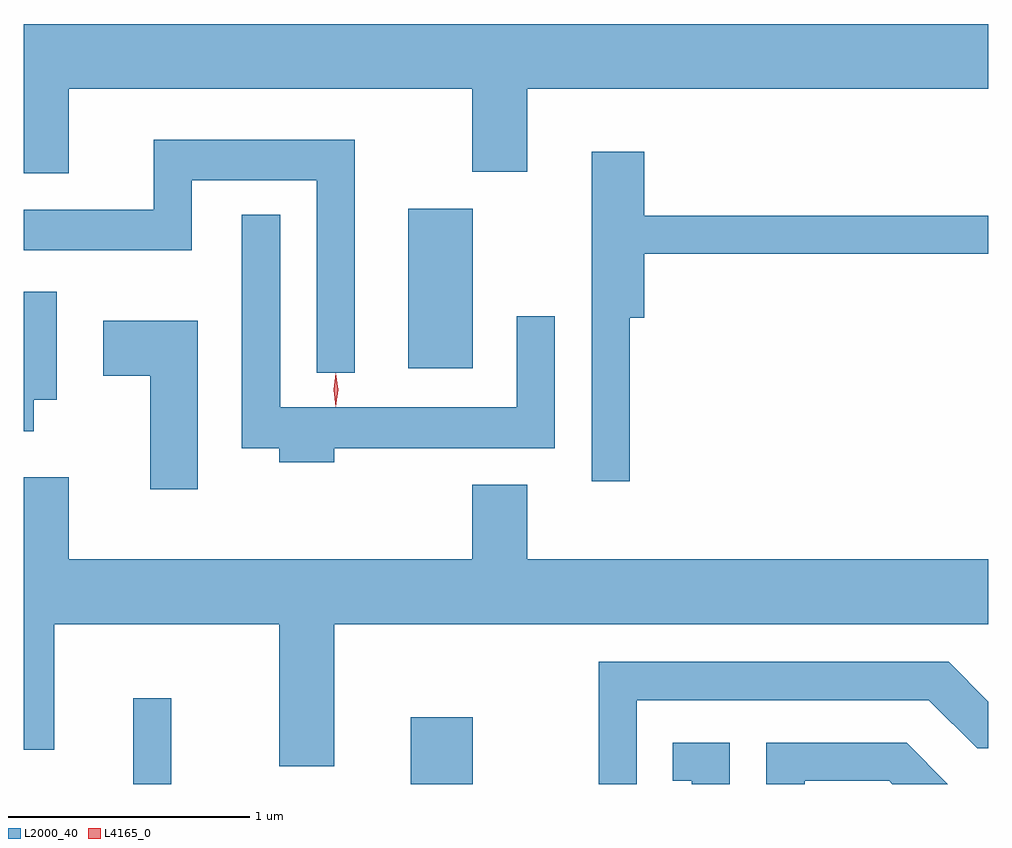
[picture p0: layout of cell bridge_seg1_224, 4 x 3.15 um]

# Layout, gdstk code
import gdstk
lib = gdstk.Library(unit=1e-6, precision=1e-09)
def R(c, l, rs):  # rectangles x0, y0, x1, y1
    for r in rs: c.add(gdstk.rectangle(r[:2], r[2:], *l))
def P(c, l, *ps):  # polygons
    for p in ps: c.add(gdstk.Polygon(p, *l))
L2000_40 = (2000, 40)
L4165_0 = (4165, 0)

bridge_seg1_224 = lib.new_cell('bridge_seg1_224')
R(bridge_seg1_224, L2000_40, [(836.086,885.593,836.244,885.948), (837.236,885.593,837.494,885.869), (837.226,887.316,837.494,887.979)])
P(bridge_seg1_224, L2000_40, [(835.819,888.476),(837.491,888.476),(837.491,888.131),(837.719,888.131),(837.719,888.476),(839.631,888.476),(839.631,888.744),(835.631,888.744),(835.631,888.126),(835.819,888.126)],
  [(837.004,888.264),(836.171,888.264),(836.171,887.974),(835.631,887.974),(835.631,887.806),(836.329,887.806),(836.329,888.096),(836.846,888.096),(836.846,887.298),(837.004,887.298)],
  [(838.144,887.526),(838.204,887.526),(838.204,887.791),(839.631,887.791),(839.631,887.949),(838.204,887.949),(838.204,888.214),(837.986,888.214),(837.986,886.848),(838.144,886.848)],
  [(836.919,886.986),(837.834,886.986),(837.834,887.533),(837.676,887.533),(837.676,887.154),(836.694,887.154),(836.694,887.953),(836.536,887.953),(836.536,886.986),(836.691,886.986),(836.691,886.926),(836.919,886.926)],
  [(835.674,887.186),(835.769,887.186),(835.769,887.634),(835.631,887.634),(835.631,887.056),(835.674,887.056)],
  [(836.354,887.514),(835.961,887.514),(835.961,887.286),(836.156,887.286),(836.156,886.816),(836.354,886.816)],
  [(836.919,886.256),(839.631,886.256),(839.631,886.524),(837.719,886.524),(837.719,886.834),(837.491,886.834),(837.491,886.524),(835.819,886.524),(835.819,886.864),(835.631,886.864),(835.631,885.736),(835.759,885.736),(835.759,886.256),(836.691,886.256),(836.691,885.666),(836.919,885.666)],
  [(838.174,885.941),(839.384,885.941),(839.584,885.741),(839.631,885.741),(839.631,885.935),(839.467,886.099),(838.016,886.099),(838.016,885.593),(838.174,885.593)],
  [(838.559,885.764),(838.323,885.764),(838.323,885.606),(838.401,885.606),(838.401,885.593),(838.559,885.593)],
  [(838.869,885.606),(839.219,885.606),(839.232,885.593),(839.463,885.593),(839.292,885.764),(838.711,885.764),(838.711,885.593),(838.869,885.593)])
P(bridge_seg1_224, L4165_0, [(836.925,887.157),(836.916,887.227),(836.925,887.296),(836.926,887.296),(836.926,887.296),(836.936,887.227),(836.926,887.157),(836.926,887.157)])

lib.write_gds('bridge_seg1_224.gds')
